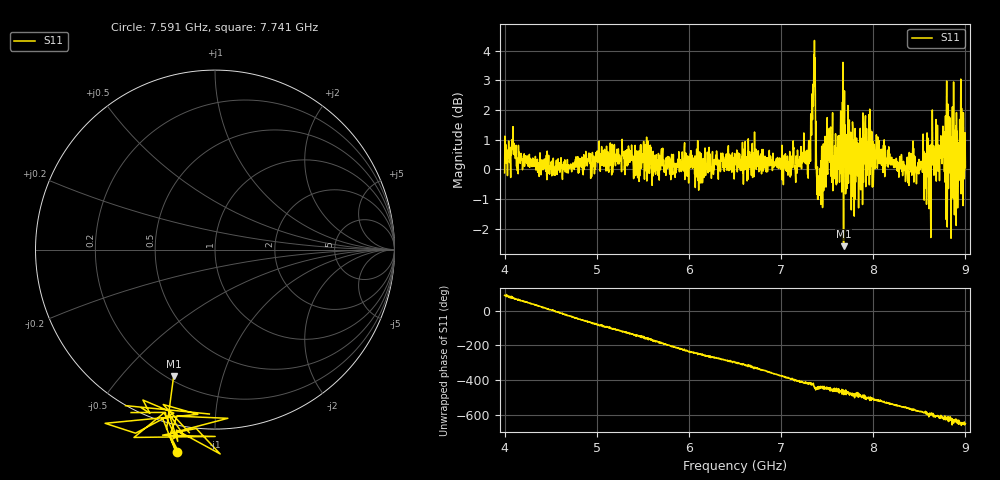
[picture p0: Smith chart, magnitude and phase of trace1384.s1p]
! Created with skrf 1.8.0 (http://scikit-rf.org).
# Hz S RI R 50.0
!freq ReS11 ImS11
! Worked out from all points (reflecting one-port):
!   1601 points, 4 GHz to 9 GHz, reference 50 ohm
!   lowest |S11| = -2.6 dB at 7.678 GHz (marker M1), VSWR 6.78, Z = 11.1 - j35.1 ohm
!   phase of S11 starts at 87 deg and turns -735 deg over the sweep
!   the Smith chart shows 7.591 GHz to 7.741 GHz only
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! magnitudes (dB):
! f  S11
! 4 GHz  -0.1
! 4.1 GHz  0.9
! 4.153 GHz  0.5
! 4.625 GHz  -0.3
! 5.25 GHz  0.5
! 5.875 GHz  0.1
! 6.5 GHz  0.2
! 7.125 GHz  0.3
! 7.294 GHz  -0.3
! 7.347 GHz  2.7
! 7.369 GHz  3.8
! 7.397 GHz  -1.0
! 7.409 GHz  -0.7
! 7.522 GHz  1.4
! 7.588 GHz  -0.3
! 7.647 GHz  2.0
! 7.678 GHz  -2.6
! 7.75 GHz  0.7
! 7.784 GHz  -0.2
! 7.928 GHz  1.4
! 8.375 GHz  -0.4
! 8.522 GHz  0.2
! 8.603 GHz  0.0
! 8.656 GHz  0.8
! 8.816 GHz  -0.6
! 8.869 GHz  -1.0
! 8.947 GHz  0.9
! 9 GHz  0.1
